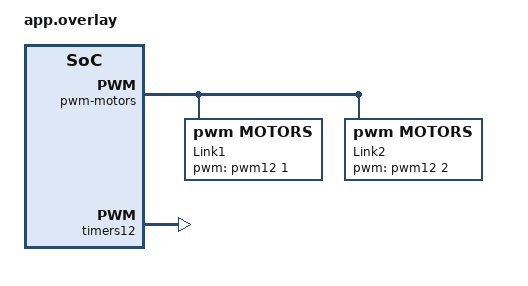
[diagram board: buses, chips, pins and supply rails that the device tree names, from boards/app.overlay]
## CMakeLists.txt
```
cmake_minimum_required(VERSION 3.20)
find_package(Zephyr REQUIRED HINTS $ENV{ZEPHYR_BASE})
project(actuators)
target_sources(app PRIVATE src/main.c)
```

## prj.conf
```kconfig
CONFIG_USB_DEVICE_STACK=y
CONFIG_USB_DEVICE_INITIALIZE_AT_BOOT=y
CONFIG_USB_CDC_ACM=y
CONFIG_PWM=y
CONFIG_PWM_LOG_LEVEL_DBG=y
CONFIG_SERIAL=y
CONFIG_CONSOLE=y
CONFIG_UART_CONSOLE=y
CONFIG_UART_INTERRUPT_DRIVEN=y
```

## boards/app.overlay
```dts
/ {
  aliases {
    link-1=&pwm_motor1;
    link-2=&pwm_motor2;
  };
  pwm-motors {
    pwm_motor1: link1{
      compatible="pwm,motors";
      label="Link1";
      pwms=<&pwm12 1 PWM_MSEC(20) PWM_POLARITY_NORMAL>;
      min-pulse=<PWM_USEC(1100)>;
      max-pulse=<PWM_USEC(1900)>;
    };

    pwm_motor2: link2{
      compatible="pwm,motors";
      label="Link2";
      pwms=<&pwm12 2 PWM_MSEC(20) PWM_POLARITY_NORMAL>;
      min-pulse=<PWM_USEC(1100)>;
      max-pulse=<PWM_USEC(1900)>;
    };
  };
};

&timers12 {
  status="okay";
  st,prescaler=<5599>;
  pwm12: pwm{
    status="okay";
    pinctrl-0=<&tim12_ch1_pb14 &tim12_ch2_pb15>;
    pinctrl-names="default";
  };
};
```

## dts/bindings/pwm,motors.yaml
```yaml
description : PWM Motor
compatible : pwm,motor 
properties :
  label : 
    type : string 
    required : false
  pwms :
    type : phandle-array
    required : true
  min-pulse :
    type : int
    required : true 
  max-pulse :
    type : int 
    required : true 
  
```

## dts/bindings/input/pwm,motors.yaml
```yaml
description : PWM Motor
compatible : pwm,motors 
properties :
  label : 
    type : string 
    required : false
  pwms :
    type : phandle-array
    required : true
  min-pulse :
    type : int
    required : true 
  max-pulse :
    type : int 
    required : true 
  
```

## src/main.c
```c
#include<stdio.h>
#include<zephyr/kernel.h>
#include<zephyr/drivers/pwm.h>
#include<zephyr/drivers/gpio.h>

const int sleep_time_ms=1000;

static const struct pwm_dt_spec link1=PWM_DT_SPEC_GET(DT_ALIAS(link_1));
//static const struct pwm_dt_spec link2=PWM_DT_SPEC_GET(DT_ALIAS(link_2));
uint32_t maxpulse=DT_PROP(DT_ALIAS(link_1),max_pulse);
uint32_t minpulse=DT_PROP(DT_ALIAS(link_1),min_pulse);

#define STEP PWM_USEC(100)

enum direction {
  UP,
  DOWN,
};

int main(){
  uint32_t pulse_width=maxpulse;
  enum direction dir=DOWN;
  int ret;
  if (!pwm_is_ready_dt(&link1)) {
		printk("Error: PWM device is not ready\n");
		return 0;
	};
  while(1){
    printk("min: %d , max:%d \n",minpulse,maxpulse);
    printk("pulse width %d",pulse_width);
    ret=pwm_set_pulse_dt(&link1,pulse_width);
    if(ret<0){
      printk("Error is configuration : %d\n",ret);
    };
    if(dir==DOWN){
      if(pulse_width<=minpulse){
        dir=UP;
        pulse_width=minpulse;
      } else {
        pulse_width-=STEP;
      };
    } else {
      pulse_width+=STEP;
      if(pulse_width>=maxpulse){
        dir=DOWN;
        pulse_width=maxpulse;
      };
    };
    k_msleep(200);
  };
  return 0;
}
```
